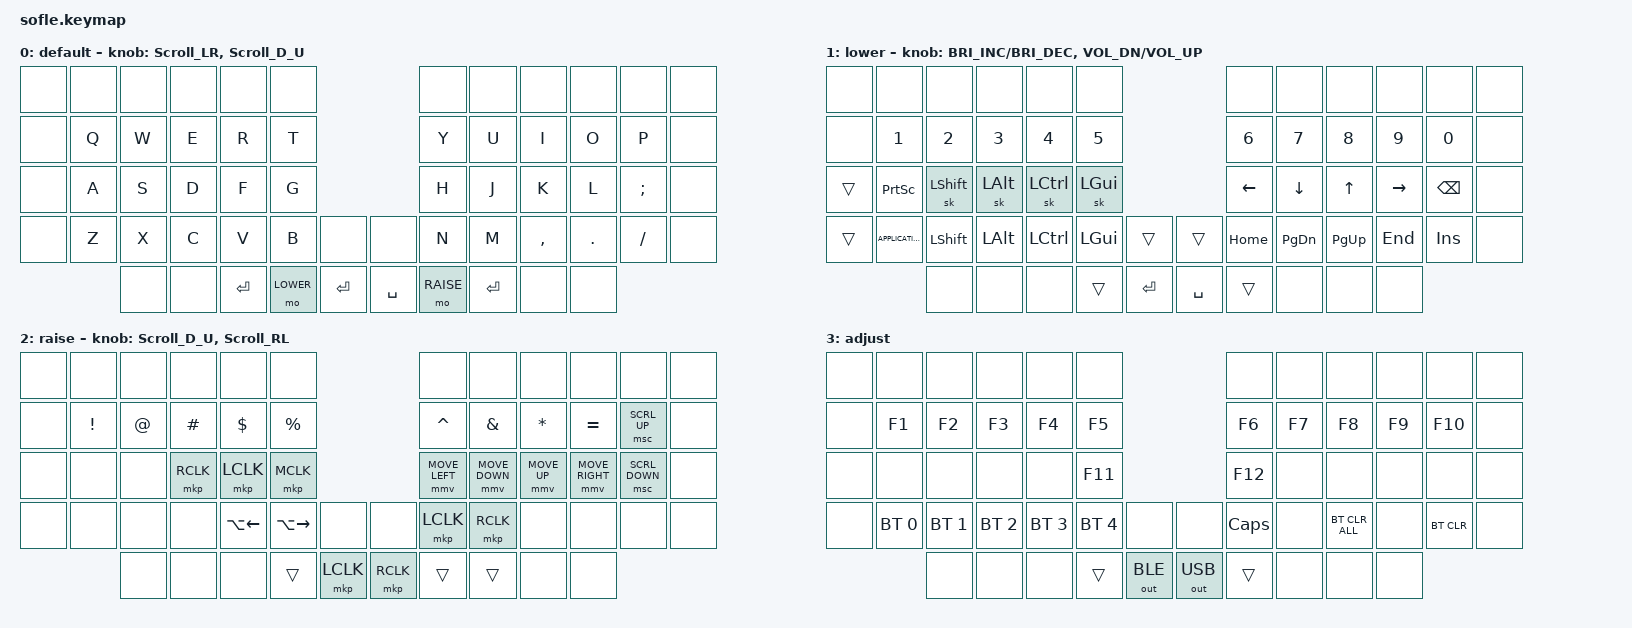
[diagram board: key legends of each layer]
/*
 * Copyright (c) 2020 The ZMK Contributors
 *
 * SPDX-License-Identifier: MIT
 */

#include <input/processors.dtsi>
#include <zephyr/dt-bindings/input/input-event-codes.h>
#include <dt-bindings/zmk/mouse.h>
#include <behaviors/mouse_keys.dtsi>
#include <behaviors.dtsi>
#include <dt-bindings/zmk/bt.h>
#include <dt-bindings/zmk/keys.h>
#include <dt-bindings/zmk/outputs.h>
#include <dt-bindings/zmk/pointing.h>

#define BASE 0
#define LOWER 1
#define RAISE 2
#define ADJUST 3
#define ZMK_POINTING_DEFAULT_MOVE_VAL 1200  // 600
#define ZMK_POINTING_DEFAULT_SCRL_VAL 900   // mousescroll SPEED

&mmv_input_listener { input-processors = <&zip_xy_scaler 2 1>; };

&msc_input_listener { input-processors = <&zip_scroll_scaler 2 1>; };

&msc {
    acceleration-exponent = <1>;      // 0
    time-to-max-speed-ms = <100>;       // 300
    delay-ms = <0>;                   // 0
};

&mmv {
    time-to-max-speed-ms = <500>;
    acceleration-exponent = <1>;
    trigger-period-ms = <16>;
};

&soft_off {
    hold-time-ms = <3000>; // Only turn off if the key is held for 3 seconds or longer.
};

&mt {
    tapping-term-ms = <300>;
    flavor = "tap-preferred";
};

&lt { tapping-term-ms = <300>; };

/ {
    behaviors {
        Scroll_D_U: Scroll_D_U {
            compatible = "zmk,behavior-sensor-rotate";
            label = "SCROLL_D_U";
            #sensor-binding-cells = <0>;
            bindings = <&msc SCRL_DOWN>, <&msc SCRL_UP>;

            tap-ms = <20>;
        };

        Scroll_U_D: Scroll_U_D {
            compatible = "zmk,behavior-sensor-rotate";
            label = "SCROLL_U_D";
            #sensor-binding-cells = <0>;
            bindings = <&msc SCRL_UP>, <&msc SCRL_DOWN>;

            tap-ms = <20>;
        };

        Scroll_LR: Scroll_LR {
            compatible = "zmk,behavior-sensor-rotate";
            label = "SCROLL_LR";
            #sensor-binding-cells = <0>;
            bindings = <&msc SCRL_LEFT>, <&msc SCRL_RIGHT>;

            tap-ms = <20>;
        };

        Scroll_RL: Scroll_RL {
            compatible = "zmk,behavior-sensor-rotate";
            label = "SCROLL_RL";
            #sensor-binding-cells = <0>;
            bindings = <&msc SCRL_RIGHT>, <&msc SCRL_LEFT>;

            tap-ms = <20>;
        };

        mouse_DU: mouse_DU {
            compatible = "zmk,behavior-sensor-rotate";
            label = "MOUSE_DU";
            #sensor-binding-cells = <0>;
            bindings = <&mmv MOVE_DOWN>, <&mmv MOVE_UP>;
        };

        mouse_RL: mouse_RL {
            compatible = "zmk,behavior-sensor-rotate";
            label = "MOUSE_RL";
            #sensor-binding-cells = <0>;
            bindings = <&mmv MOVE_RIGHT>, <&mmv MOVE_LEFT>;
        };
    };

    // Activate ADJUST layer by pressing raise and lower

    conditional_layers {
        compatible = "zmk,conditional-layers";

        adjust_layer {
            if-layers = <LOWER RAISE>;
            then-layer = <ADJUST>;
        };
    };

    combos {
        compatible = "zmk,combos";

        esc {
            bindings = <&kp ESCAPE>;
            key-positions = <13 14>;
            layers = <0>;
            timeout-ms = <30>;
            require-prior-idle-ms = <180>;
        };

        enter {
            bindings = <&kp ENTER>;
            key-positions = <28 29>;
            timeout-ms = <30>;
            require-prior-idle-ms = <180>;
            layers = <0>;
        };

        backspace {
            bindings = <&kp BACKSPACE>;
            key-positions = <26 27>;
            timeout-ms = <30>;
            require-prior-idle-ms = <180>;
            layers = <0>;
        };

        delete {
            bindings = <&kp DELETE>;
            key-positions = <27 28>;
            timeout-ms = <30>;
            require-prior-idle-ms = <180>;
            layers = <0>;
        };

        lctrl {
            bindings = <&kp LCTRL>;
            key-positions = <40 41>;
            timeout-ms = <30>;
            require-prior-idle-ms = <180>;
            layers = <0>;
        };

        lalt {
            bindings = <&kp LEFT_ALT>;
            key-positions = <41 28>;
            timeout-ms = <30>;
            require-prior-idle-ms = <180>;
            layers = <0>;
        };

        lgui {
            bindings = <&kp LEFT_GUI>;
            key-positions = <29 41>;
            timeout-ms = <30>;
            require-prior-idle-ms = <180>;
            layers = <0>;
        };

        ctrl-shift {
            bindings = <&kp LC(LEFT_SHIFT)>;
            key-positions = <40 41 54>;
            timeout-ms = <30>;
            require-prior-idle-ms = <180>;
            layers = <0>;
        };

        alt-shift {
            bindings = <&kp LA(LEFT_SHIFT)>;
            key-positions = <28 41 54>;
            timeout-ms = <30>;
            require-prior-idle-ms = <180>;
            layers = <0>;
        };

        gui-shift {
            bindings = <&kp LG(LSHIFT)>;
            key-positions = <29 41 54>;
            timeout-ms = <30>;
            require-prior-idle-ms = <180>;
            layers = <0>;
        };

        copy {
            bindings = <&kp LC(C)>;
            key-positions = <38 39>;
            timeout-ms = <35>;
            require-prior-idle-ms = <150>;
            layers = <0>;
        };

        paste {
            bindings = <&kp LC(V)>;
            key-positions = <39 40>;
            timeout-ms = <35>;
            require-prior-idle-ms = <150>;
            layers = <0>;
        };

        cut {
            bindings = <&kp LC(X)>;
            key-positions = <40 38>;
            timeout-ms = <35>;
            require-prior-idle-ms = <150>;
            layers = <0>;
        };

        sellect-all {
            bindings = <&kp LC(A)>;
            key-positions = <37 38>;
            timeout-ms = <35>;
            require-prior-idle-ms = <150>;
            layers = <0>;
        };

        undo {
            bindings = <&kp LC(Z)>;
            key-positions = <14 15>;
            timeout-ms = <35>;
            require-prior-idle-ms = <150>;
            layers = <0>;
        };

        redo {
            bindings = <&kp LC(Y)>;
            key-positions = <15 16>;
            timeout-ms = <35>;
            require-prior-idle-ms = <150>;
            layers = <0>;
        };

        equal {
            bindings = <&kp EQUAL>;
            key-positions = <18 19>;
            timeout-ms = <35>;
            require-prior-idle-ms = <150>;
            layers = <0>;
        };

        less-than {
            bindings = <&kp LESS_THAN>;
            key-positions = <31 30>;
            timeout-ms = <35>;
            require-prior-idle-ms = <150>;
            layers = <0>;
        };

        greater-than {
            bindings = <&kp GREATER_THAN>;
            key-positions = <45 44>;
            timeout-ms = <35>;
            require-prior-idle-ms = <150>;
            layers = <0>;
        };

        lpar {
            bindings = <&kp LEFT_PARENTHESIS>;
            key-positions = <19 20>;
            timeout-ms = <35>;
            require-prior-idle-ms = <150>;
            layers = <0>;
        };

        lbrc {
            bindings = <&kp LEFT_BRACE>;
            key-positions = <31 32>;
            timeout-ms = <35>;
            require-prior-idle-ms = <150>;
            layers = <0>;
        };

        lbkt {
            bindings = <&kp LEFT_BRACKET>;
            key-positions = <45 46>;
            timeout-ms = <35>;
            require-prior-idle-ms = <150>;
            layers = <0>;
        };

        rpar {
            bindings = <&kp RIGHT_PARENTHESIS>;
            key-positions = <20 21>;
            timeout-ms = <35>;
            require-prior-idle-ms = <150>;
            layers = <0>;
        };

        rbrc {
            bindings = <&kp RIGHT_BRACE>;
            key-positions = <33 32>;
            timeout-ms = <35>;
            require-prior-idle-ms = <150>;
            layers = <0>;
        };

        rbkt {
            bindings = <&kp RIGHT_BRACKET>;
            key-positions = <46 47>;
            timeout-ms = <35>;
            require-prior-idle-ms = <150>;
            layers = <0>;
        };

        colon {
            bindings = <&kp COLON>;
            key-positions = <33 34>;
            timeout-ms = <35>;
            require-prior-idle-ms = <150>;
            layers = <0>;
        };

        double-quotes {
            bindings = <&kp DOUBLE_QUOTES>;
            key-positions = <21 22>;
            timeout-ms = <35>;
            require-prior-idle-ms = <150>;
            layers = <0>;
        };

        quote {
            bindings = <&kp SINGLE_QUOTE>;
            key-positions = <47 48>;
            timeout-ms = <35>;
            require-prior-idle-ms = <150>;
            layers = <0>;
        };

        plus {
            bindings = <&kp PLUS>;
            key-positions = <31 20>;
            timeout-ms = <35>;
            require-prior-idle-ms = <150>;
            layers = <0>;
        };

        minus {
            bindings = <&kp MINUS>;
            key-positions = <31 21>;
            timeout-ms = <35>;
            require-prior-idle-ms = <150>;
            layers = <0>;
        };

        under-scrore {
            bindings = <&kp UNDERSCORE>;
            key-positions = <31 22>;
            timeout-ms = <35>;
            require-prior-idle-ms = <150>;
            layers = <0>;
        };

        grave {
            bindings = <&kp GRAVE>;
            key-positions = <31 33>;
            timeout-ms = <35>;
            require-prior-idle-ms = <150>;
            layers = <0>;
        };

        qmark {
            bindings = <&kp QUESTION>;
            key-positions = <31 47>;
            timeout-ms = <35>;
            require-prior-idle-ms = <150>;
            layers = <0>;
        };

        pipe {
            bindings = <&kp PIPE>;
            key-positions = <31 34>;
            timeout-ms = <35>;
            require-prior-idle-ms = <150>;
            layers = <0>;
        };

        tilde {
            bindings = <&kp TILDE>;
            key-positions = <31 46>;
            timeout-ms = <35>;
            require-prior-idle-ms = <150>;
            layers = <0>;
        };

        backslash {
            bindings = <&kp BACKSLASH>;
            key-positions = <31 55>;
            timeout-ms = <35>;
            require-prior-idle-ms = <150>;
            layers = <0>;
        };

        scroll-up {
            bindings = <&msc SCRL_UP>;
            key-positions = <19 20 21>;
            timeout-ms = <35>;
            require-prior-idle-ms = <150>;
            layers = <0 2>;
        };

        scroll-down {
            bindings = <&msc SCRL_DOWN>;
            key-positions = <45 46 47>;
            timeout-ms = <35>;
            require-prior-idle-ms = <150>;
            layers = <0 2>;
        };

        tab {
            bindings = <&kp TAB>;
            key-positions = <25 26>;
            timeout-ms = <30>;
            require-prior-idle-ms = <180>;
            layers = <0>;
        };
    };

    keymap {
        compatible = "zmk,keymap";

        default_layer {
            label = "default";
            bindings = <
&none  &none  &none  &none  &none  &none                            &none      &none  &none      &none    &none     &none
&none  &kp Q  &kp W  &kp E  &kp R  &kp T                            &kp Y      &kp U  &kp I      &kp O    &kp P     &none
&none  &kp A  &kp S  &kp D  &kp F  &kp G                            &kp H      &kp J  &kp K      &kp L    &kp SEMI  &none
&none  &kp Z  &kp X  &kp C  &kp V  &kp B      &none      &none      &kp N      &kp M  &kp COMMA  &kp DOT  &kp FSLH  &none
              &none  &none  &kp RET  &mo LOWER  &kp RET    &kp SPACE  &mo RAISE  &kp RET  &none      &none
            >;

            sensor-bindings = <&Scroll_LR>, <&Scroll_D_U>;
        };

        lower_layer {
            label = "lower";
            bindings = <
&none   &none              &none           &none         &none             &none                           &none           &none           &none         &none      &none          &none
&none   &kp N1             &kp N2          &kp N3        &kp N4            &kp N5                          &kp N6          &kp N7          &kp N8        &kp N9     &kp N0         &none
&trans  &kp PRINTSCREEN    &sk LEFT_SHIFT  &sk LEFT_ALT  &sk LEFT_CONTROL  &sk LEFT_GUI                    &kp LEFT_ARROW  &kp DOWN_ARROW  &kp UP_ARROW  &kp RIGHT  &kp BACKSPACE  &none
&trans  &kp K_APPLICATION  &kp LEFT_SHIFT  &kp LEFT_ALT  &kp LEFT_CONTROL  &kp LEFT_GUI  &trans    &trans  &kp HOME        &kp PAGE_DOWN   &kp PAGE_UP   &kp END    &kp INSERT     &none
                           &none           &none         &none             &trans        &kp ENTER &kp SPACE  &trans          &none           &none         &none
            >;

            sensor-bindings =
                <&inc_dec_kp C_BRIGHTNESS_INC C_BRIGHTNESS_DEC>,
                <&inc_dec_kp C_VOL_DN C_VOL_UP>;
        };

        raise_layer {
            label = "raise";
            bindings = <
&none  &none            &none        &none      &none               &none                                        &none           &none           &none         &none            &none           &none
&none  &kp EXCLAMATION  &kp AT_SIGN  &kp HASH   &kp DOLLAR          &kp PERCENT                                  &kp CARET       &kp AMPERSAND   &kp ASTERISK  &kp EQUAL        &msc SCRL_UP    &none
&none  &none            &none        &mkp RCLK  &mkp LCLK           &mkp MCLK                                    &mmv MOVE_LEFT  &mmv MOVE_DOWN  &mmv MOVE_UP  &mmv MOVE_RIGHT  &msc SCRL_DOWN  &none
&none  &none            &none        &none      &kp LA(LEFT_ARROW)  &kp LA(RIGHT_ARROW)  &none        &none      &mkp LCLK       &mkp RCLK       &none         &none            &none           &none
                        &none        &none      &none               &trans               &mkp LCLK    &mkp RCLK  &trans          &trans          &none         &none
            >;

            sensor-bindings = <&Scroll_D_U>, <&Scroll_RL>;
        };

        adjust_layer {
            label = "adjust";
            bindings = <
&none  &none         &none         &none         &none         &none                                       &none         &none   &none           &none   &none       &none
&none  &kp F1        &kp F2        &kp F3        &kp F4        &kp F5                                      &kp F6        &kp F7  &kp F8          &kp F9  &kp F10     &none
&none  &none         &none         &none         &none         &kp F11                                     &kp F12       &none   &none           &none   &none       &none
&none  &bt BT_SEL 0  &bt BT_SEL 1  &bt BT_SEL 2  &bt BT_SEL 3  &bt BT_SEL 4  &none           &none         &kp CAPSLOCK  &none   &bt BT_CLR_ALL  &none   &bt BT_CLR  &none
                     &none         &none         &none         &trans        &out OUT_BLE    &out OUT_USB  &trans        &none   &none           &none
            >;
        };
    };
};
